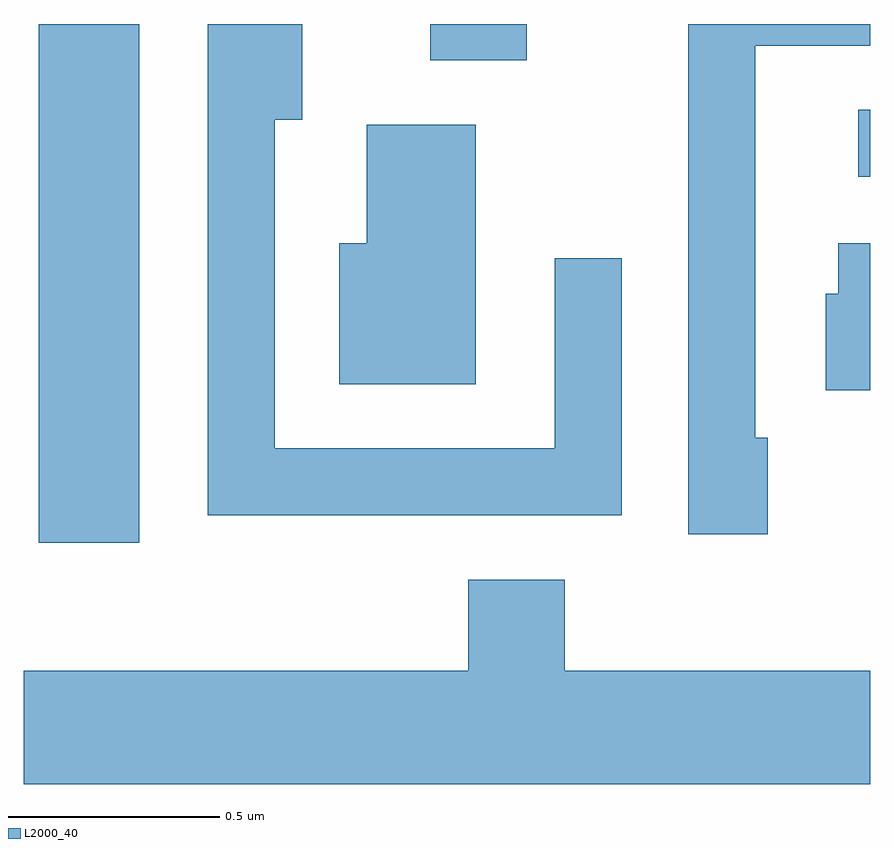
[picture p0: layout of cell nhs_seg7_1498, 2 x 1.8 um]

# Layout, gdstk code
import gdstk
lib = gdstk.Library(unit=1e-6, precision=1e-09)
def R(c, l, rs):  # rectangles x0, y0, x1, y1
    for r in rs: c.add(gdstk.rectangle(r[:2], r[2:], *l))
def P(c, l, *ps):  # polygons
    for p in ps: c.add(gdstk.Polygon(p, *l))
L2000_40 = (2000, 40)

nhs_seg7_1498 = lib.new_cell('nhs_seg7_1498')
R(nhs_seg7_1498, L2000_40, [(195.646,1797.026,195.884,1798.252), (197.583,1797.891,197.611,1798.049), (196.571,1798.166,196.799,1798.252)])
P(nhs_seg7_1498, L2000_40, [(197.369,1797.274),(197.339,1797.274),(197.339,1798.201),(197.611,1798.201),(197.611,1798.252),(197.181,1798.252),(197.181,1797.046),(197.369,1797.046)],
  [(197.024,1797.698),(196.866,1797.698),(196.866,1797.249),(196.204,1797.249),(196.204,1798.026),(196.269,1798.026),(196.269,1798.252),(196.046,1798.252),(196.046,1797.091),(197.024,1797.091)],
  [(196.679,1798.014),(196.421,1798.014),(196.421,1797.734),(196.356,1797.734),(196.356,1797.401),(196.679,1797.401)],
  [(197.611,1797.734),(197.536,1797.734),(197.536,1797.614),(197.506,1797.614),(197.506,1797.386),(197.611,1797.386)],
  [(197.611,1796.724),(196.889,1796.724),(196.889,1796.939),(196.661,1796.939),(196.661,1796.724),(195.611,1796.724),(195.611,1796.456),(197.611,1796.456)])

lib.write_gds('nhs_seg7_1498.gds')
